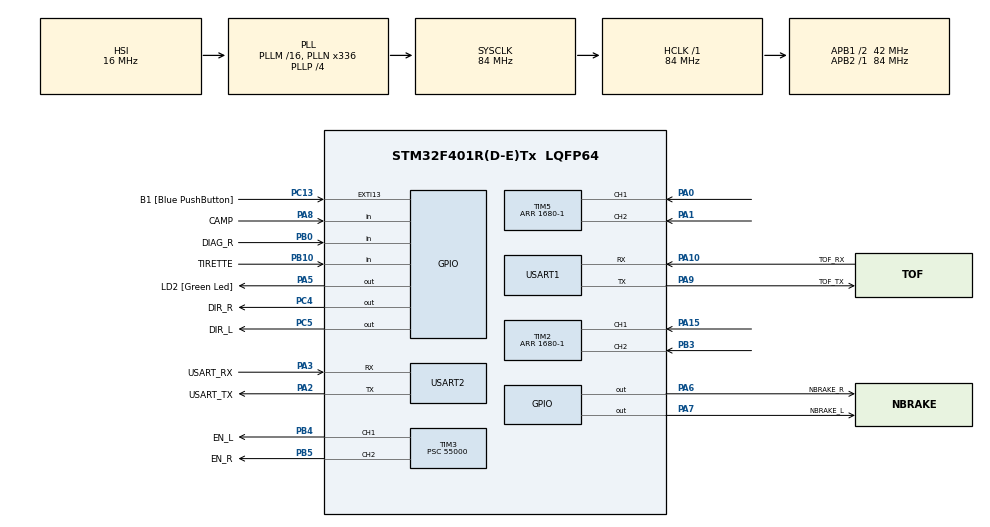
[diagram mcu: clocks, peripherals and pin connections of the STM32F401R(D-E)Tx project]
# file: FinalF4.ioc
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Mcu.Family=STM32F4
Mcu.Name=STM32F401R(D-E)Tx
Mcu.Package=LQFP64
NVIC.PriorityGroup=NVIC_PRIORITYGROUP_0
NVIC.TIM1_UP_TIM10_IRQn=true\:0\:0\:false\:false\:true\:true\:true
PA0-WKUP.Signal=S_TIM5_CH1
PA1.Signal=S_TIM5_CH2
PA10.GPIO_Label=TOF_RX
PA10.Mode=Asynchronous
PA10.Signal=USART1_RX
PA13.GPIO_Label=TMS
PA13.Mode=Serial_Wire
PA13.Signal=SYS_JTMS-SWDIO
PA14.GPIO_Label=TCK
PA14.Mode=Serial_Wire
PA14.Signal=SYS_JTCK-SWCLK
PA15.Signal=S_TIM2_CH1_ETR
PA2.GPIO_Label=USART_TX
PA2.GPIO_Mode=GPIO_MODE_AF_PP
PA2.GPIO_PuPd=GPIO_NOPULL
PA2.GPIO_Speed=GPIO_SPEED_FREQ_LOW
PA2.Mode=Asynchronous
PA2.Signal=USART2_TX
PA3.GPIO_Label=USART_RX
PA3.GPIO_Mode=GPIO_MODE_AF_PP
PA3.GPIO_PuPd=GPIO_NOPULL
PA3.GPIO_Speed=GPIO_SPEED_FREQ_LOW
PA3.Mode=Asynchronous
PA3.Signal=USART2_RX
PA5.GPIO_Label=LD2 [Green Led]
PA5.GPIO_Mode=GPIO_MODE_OUTPUT_PP
PA5.GPIO_PuPd=GPIO_NOPULL
PA5.GPIO_Speed=GPIO_SPEED_FREQ_LOW
PA5.Signal=GPIO_Output
PA6.GPIO_Label=NBRAKE_R
PA6.Signal=GPIO_Output
PA7.GPIO_Label=NBRAKE_L
PA7.Signal=GPIO_Output
PA8.GPIO_Label=CAMP
PA8.Signal=GPIO_Input
PA9.GPIO_Label=TOF_TX
PA9.Mode=Asynchronous
PA9.Signal=USART1_TX
PB0.GPIO_Label=DIAG_R
PB0.Signal=GPIO_Input
PB10.GPIO_Label=TIRETTE
PB10.Signal=GPIO_Input
PB3.Signal=S_TIM2_CH2
PB4.GPIO_Label=EN_L
PB4.Signal=S_TIM3_CH1
PB5.GPIO_Label=EN_R
PB5.Signal=S_TIM3_CH2
PC13-ANTI_TAMP.GPIO_Label=B1 [Blue PushButton]
PC13-ANTI_TAMP.GPIO_ModeDefaultEXTI=GPIO_MODE_IT_FALLING
PC13-ANTI_TAMP.GPIO_PuPd=GPIO_NOPULL
PC13-ANTI_TAMP.Signal=GPXTI13
PC14-OSC32_IN.Mode=LSE-External-Oscillator
PC14-OSC32_IN.Signal=RCC_OSC32_IN
PC15-OSC32_OUT.Mode=LSE-External-Oscillator
PC15-OSC32_OUT.Signal=RCC_OSC32_OUT
PC4.GPIO_Label=DIR_R
PC4.Signal=GPIO_Output
PC5.GPIO_Label=DIR_L
PC5.Signal=GPIO_Output
PH0\ -\ OSC_IN.Mode=HSE-External-Clock-Source
PH0\ -\ OSC_IN.Signal=RCC_OSC_IN
PH1\ -\ OSC_OUT.Mode=HSE-External-Clock-Source
PH1\ -\ OSC_OUT.Signal=RCC_OSC_OUT
ProjectManager.HeapSize=0x200
ProjectManager.StackSize=0x400
ProjectManager.TargetToolchain=Makefile
RCC.48MHZClocksFreq_Value=48000000
RCC.AHBFreq_Value=84000000
RCC.APB1CLKDivider=RCC_HCLK_DIV2
RCC.APB1Freq_Value=42000000
RCC.APB1TimFreq_Value=84000000
RCC.APB2Freq_Value=84000000
RCC.APB2TimFreq_Value=84000000
RCC.CortexFreq_Value=84000000
RCC.HCLKFreq_Value=84000000
RCC.HSE_VALUE=8000000
RCC.HSI_VALUE=16000000
RCC.PLLN=336
RCC.PLLP=RCC_PLLP_DIV4
RCC.PLLQ=7
RCC.SYSCLKFreq_VALUE=84000000
RCC.SYSCLKSource=RCC_SYSCLKSOURCE_PLLCLK
RCC.VCOOutputFreq_Value=336000000
SH.S_TIM2_CH1_ETR.0=TIM2_CH1,Encoder_Interface
SH.S_TIM2_CH2.0=TIM2_CH2,Encoder_Interface
SH.S_TIM3_CH1.0=TIM3_CH1,PWM Generation1 CH1
SH.S_TIM3_CH2.0=TIM3_CH2,PWM Generation2 CH2
SH.S_TIM5_CH1.0=TIM5_CH1,Encoder_Interface
SH.S_TIM5_CH2.0=TIM5_CH2,Encoder_Interface
TIM10.Period=255-1
TIM10.Prescaler=1250-1
TIM2.Period=1680-1
TIM3.Channel-PWM\ Generation1\ CH1=TIM_CHANNEL_1
TIM3.Channel-PWM\ Generation2\ CH2=TIM_CHANNEL_2
TIM3.OCFastMode_PWM-PWM\ Generation1\ CH1=TIM_OCFAST_ENABLE
TIM3.OCFastMode_PWM-PWM\ Generation2\ CH2=TIM_OCFAST_ENABLE
TIM3.Period=225-1
TIM3.Prescaler=55000
TIM5.Period=1680-1
USART1.VirtualMode=VM_ASYNC
USART2.VirtualMode=VM_ASYNC
VP_TIM10_VS_ClockSourceINT.Mode=Enable_Timer
board=NUCLEO-F401RE

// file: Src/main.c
/* USER CODE BEGIN Header */
/**
  ******************************************************************************
  * @file           : main.c
  * @brief          : Main program body
  ******************************************************************************
  * @attention
  *
  * <h2><center>&copy; Copyright (c) 2019 STMicroelectronics.
  * All rights reserved.</center></h2>
  *
  * This software component is licensed by ST under BSD 3-Clause license,
  * the "License"; You may not use this file except in compliance with the
  * License. You may obtain a copy of the License at:
  *                        opensource.org/licenses/BSD-3-Clause
  *
  ******************************************************************************
  */
/* USER CODE END Header */

#include "main.h"
#include "tim.h"
#include "usart.h"
#include "gpio.h"

/* USER CODE BEGIN Includes */
#include "motor.h"
#include "odometry.h"
#include "Utils.h"
/* USER CODE END Includes */

/* USER CODE BEGIN PV */
volatile Odometry odometry;
/* USER CODE END PV */

void SystemClock_Config(void);

/* USER CODE BEGIN 0 */
void HAL_TIM_PeriodElapsedCallback (TIM_HandleTypeDef *htim)
{
  // FIXME : htim 10 is maybe not optimal
  if(htim->Instance == htim10.Instance){
    update_odometry(&odometry);
  }
}
/* USER CODE END 0 */

int main(void)
{

  /* MCU Configuration--------------------------------------------------------*/

  /* Reset of all peripherals, Initializes the Flash interface and the Systick. */
  HAL_Init();

  /* Configure the system clock */
  SystemClock_Config();

  /* Initialize all configured peripherals */
  MX_GPIO_Init();
  MX_USART2_UART_Init();
  MX_TIM2_Init();
  MX_TIM3_Init();
  MX_TIM5_Init();
  MX_TIM10_Init();
  MX_USART1_UART_Init();
  /* USER CODE BEGIN 2 */

  /**************************************************/
  /*            Odometry Start                      */
  /**************************************************/
  //Init odometry struct and start sampling
  init_odometry(&odometry, &htim2, &htim5, &htim10);

  // /**************************************************/
  // /*            Motors Init                         */
  // /**************************************************/
  // //Init variable used to reconfigure PWM
  TIM_OC_InitTypeDef sConfigOC;
  sConfigOC.OCMode = TIM_OCMODE_PWM1;
  sConfigOC.OCPolarity = TIM_OCPOLARITY_HIGH;
  sConfigOC.OCFastMode = TIM_OCFAST_DISABLE;

  //PWM Start
  HAL_TIM_PWM_Start(&htim3, TIM_CHANNEL_2);//EN_2
  HAL_TIM_PWM_Start(&htim3, TIM_CHANNEL_1);//EN_1

  //Direction init : forward
  HAL_GPIO_WritePin(DIR_R_GPIO_Port, DIR_R_Pin, 0);
  HAL_GPIO_WritePin(DIR_L_GPIO_Port, DIR_L_Pin, 0);

  //Enable : stop
  DRIVE_MOTOR_R(0);//encoder2 forward positive positive voltage
  DRIVE_MOTOR_L(0);//encoder1 forward positive positive voltage

  //Release the brakes
  HAL_GPIO_WritePin (NBRAKE_R_GPIO_Port, NBRAKE_R_Pin, 1);
  HAL_GPIO_WritePin (NBRAKE_L_GPIO_Port, NBRAKE_L_Pin, GPIO_PIN_SET);

  // CheckField(CAMP_GPIO_Port, CAMP_Pin);
  WaitCordPull(TIRETTE_GPIO_Port, TIRETTE_Pin);

  DRIVE_MOTOR_L(12);//encoder2 forward positive positive voltage
  DRIVE_MOTOR_R(12);

  /* USER CODE END 2 */

  /* Infinite loop */
  while (1)
  {

  }
}

void SystemClock_Config(void)
{
  RCC_OscInitTypeDef RCC_OscInitStruct = {0};
  RCC_ClkInitTypeDef RCC_ClkInitStruct = {0};

  /** Configure the main internal regulator output voltage
  */
  __HAL_RCC_PWR_CLK_ENABLE();
  __HAL_PWR_VOLTAGESCALING_CONFIG(PWR_REGULATOR_VOLTAGE_SCALE2);
  /** Initializes the CPU, AHB and APB busses clocks
  */
  RCC_OscInitStruct.OscillatorType = RCC_OSCILLATORTYPE_HSI;
  RCC_OscInitStruct.HSIState = RCC_HSI_ON;
  RCC_OscInitStruct.HSICalibrationValue = RCC_HSICALIBRATION_DEFAULT;
  RCC_OscInitStruct.PLL.PLLState = RCC_PLL_ON;
  RCC_OscInitStruct.PLL.PLLSource = RCC_PLLSOURCE_HSI;
  RCC_OscInitStruct.PLL.PLLM = 16;
  RCC_OscInitStruct.PLL.PLLN = 336;
  RCC_OscInitStruct.PLL.PLLP = RCC_PLLP_DIV4;
  RCC_OscInitStruct.PLL.PLLQ = 7;
  if (HAL_RCC_OscConfig(&RCC_OscInitStruct) != HAL_OK)
  {
    Error_Handler();
  }
  /** Initializes the CPU, AHB and APB busses clocks
  */
  RCC_ClkInitStruct.ClockType = RCC_CLOCKTYPE_HCLK|RCC_CLOCKTYPE_SYSCLK
                              |RCC_CLOCKTYPE_PCLK1|RCC_CLOCKTYPE_PCLK2;
  RCC_ClkInitStruct.SYSCLKSource = RCC_SYSCLKSOURCE_PLLCLK;
  RCC_ClkInitStruct.AHBCLKDivider = RCC_SYSCLK_DIV1;
  RCC_ClkInitStruct.APB1CLKDivider = RCC_HCLK_DIV2;
  RCC_ClkInitStruct.APB2CLKDivider = RCC_HCLK_DIV1;

  if (HAL_RCC_ClockConfig(&RCC_ClkInitStruct, FLASH_LATENCY_2) != HAL_OK)
  {
    Error_Handler();
  }
}

void Error_Handler(void)
{
}

/************************ (C) COPYRIGHT STMicroelectronics *****END OF FILE****/
